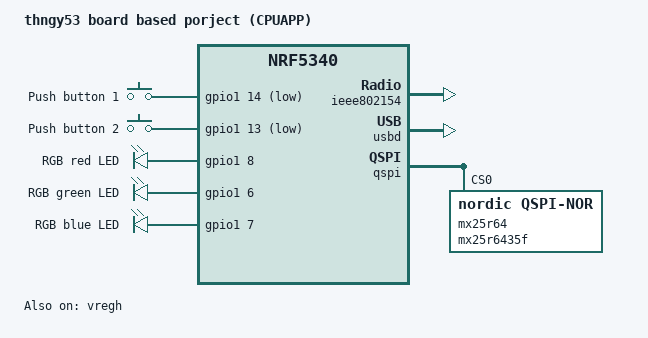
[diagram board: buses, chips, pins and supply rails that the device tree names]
/dts-v1/;

#include <nordic/nrf5340_cpuapp_qkaa.dtsi>
#include "sanc_thingy53-pinctrl.dtsi"

/ {
	model = "thngy53 board based porject (CPUAPP)";
	compatible = "sanc,sanc-thingy53-cpuapp";

	chosen {
		zephyr,sram = &sram0_image;
		zephyr,flash = &flash0;
		zephyr,code-partition = &slot0_partition;
		zephyr,sram-secure-partition = &sram0_s;
		zephyr,sram-non-secure-partition = &sram0_ns;
		zephyr,bt-hci = &bt_hci_ipc0;
		nordic,802154-spinel-ipc = &ipc0;
		zephyr,ieee802154 = &ieee802154;
		zephyr,console = &cdc_acm_uart0;
		zephyr,shell-uart = &cdc_acm_uart0;
		nordic,pm-ext-flash = &mx25r64;
	};

	aliases {
		sw0 = &button0;
		sw1 = &button1;
		led0 = &red_led;
		led1 = &green_led;
		led2 = &blue_led;
		mcuboot-button0 = &button0;
		mcuboot-led0 = &blue_led;
	};

	buttons {
		compatible = "gpio-keys";
		button0: button_0 {
			gpios = <&gpio1 14 (GPIO_PULL_UP | GPIO_ACTIVE_LOW)>;
			label = "Push button 1";
		};
		button1: button_1 {
			gpios = <&gpio1 13 (GPIO_PULL_UP | GPIO_ACTIVE_LOW)>;
			label = "Push button 2";
		};
	};

	leds {
		compatible = "gpio-leds";
		red_led: led_1 {
			gpios = <&gpio1 8 GPIO_ACTIVE_HIGH>;
			label = "RGB red LED";
		};
		green_led: led_2 {
			gpios = <&gpio1 6 GPIO_ACTIVE_HIGH>;
			label = "RGB green LED";
		};
		blue_led: led_3 {
			gpios = <&gpio1 7 GPIO_ACTIVE_HIGH>;
			label = "RGB blue LED";
		};
	};
};

&gpio0 {
	status = "okay";
};

&gpio1 {
	status = "okay";
};

&gpiote {
	status = "okay";
};

&ieee802154 {
	status = "okay";
};

&vregmain {
	regulator-initial-mode = <NRF5X_REG_MODE_DCDC>;
};

&vregradio {
	regulator-initial-mode = <NRF5X_REG_MODE_DCDC>;
};

&vregh {
	status = "okay";
};

zephyr_udc0: &usbd {
	compatible = "nordic,nrf-usbd";
	status = "okay";
	cdc_acm_uart0: cdc_acm_uart0 {
		compatible = "zephyr,cdc-acm-uart";
	};
};

&qspi {
	status = "okay";
	pinctrl-0 = <&qspi_default>;
	pinctrl-1 = <&qspi_sleep>;
	pinctrl-names = "default", "sleep";

	mx25r64: mx25r6435f@0 {
		compatible = "nordic,qspi-nor";
		reg = <0>;
		writeoc = "pp";
		readoc = "read2io";
		sck-frequency = <8000000>;
		jedec-id = [c2 28 17];
		sfdp-bfp = [e5 20 f1 ff ff ff ff 03 44 eb 08 6b 08 3b 04 bb
			    ee ff ff ff ff ff 00 ff ff ff 00 ff 0c 20 0f 52
			    10 d8 00 ff 23 72 f5 00 82 ed 04 cc 44 83 68 44
			    30 b0 30 b0 f7 c4 d5 5c 00 be 29 ff f0 d0 ff ff];
		size = <67108864>;
		has-dpd;
		t-enter-dpd = <10000>;
		t-exit-dpd = <35000>;
	};
};

#include "sanc_thingy53_cpuapp-partitioning.dtsi"
#include "sanc_thingy53-shared_sram.dtsi"
